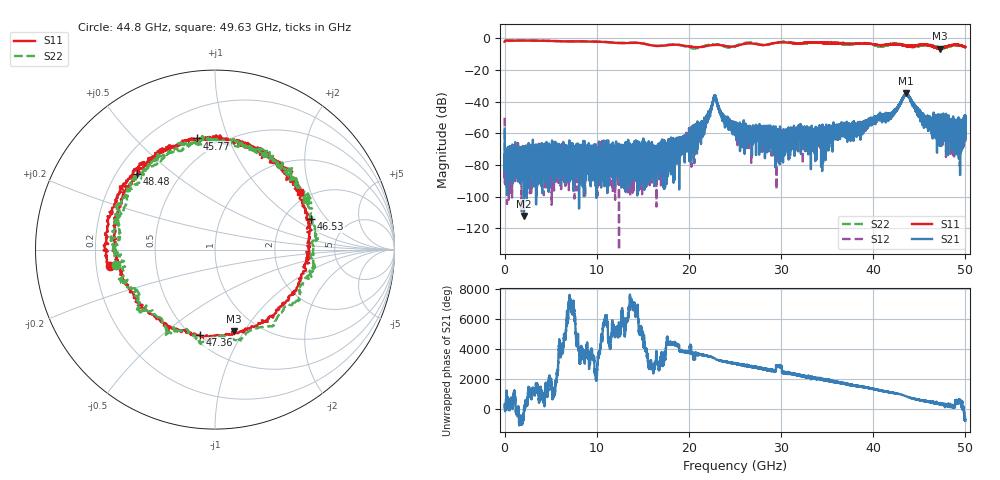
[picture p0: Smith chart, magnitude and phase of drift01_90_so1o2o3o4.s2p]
!Created with skrf (http://scikit-rf.org).
# Hz S RI R 50.0
!freq ReS11 ImS11 ReS21 ImS21 ReS12 ImS12 ReS22 ImS22
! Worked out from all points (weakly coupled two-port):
!   10001 points, 300 kHz to 50 GHz, reference 50 ohm
!   highest |S21| = -34.66 dB at 43.56 GHz (marker M1); lowest = -112.2 dB at 2.1 GHz (marker M2)
!   lowest |S11| = -6.6 dB at 47.2 GHz (marker M3), VSWR 2.75, Z = 38.9 - j45.2 ohm
!   |S11| at or under -10 dB: nowhere
!   |S22| runs from -6.6 to -1.4 dB; largest |S21 - S12| = 0.0035
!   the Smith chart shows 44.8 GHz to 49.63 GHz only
!   S11 on the Smith chart (normalised r, x): 44.8 GHz: 0.26, -0.07; 45.77 GHz: 0.38, +0.78; 46.53 GHz: 2.78, +1.39; 47.36 GHz: 0.55, -0.68; 48.48 GHz: 0.28, +0.38; 49.63 GHz: 1.78, +1.68
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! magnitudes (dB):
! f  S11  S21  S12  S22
! 300 kHz  -2.1  -57.1  -50.2  -2.1
! 255.3 MHz  -1.4  -79.5  -104.6  -1.4
! 2.1 GHz  -1.4  -112.2  -70.9  -1.4
! 8.335 GHz  -1.9  -90.6  -70.0  -1.8
! 16.67 GHz  -4.8  -77.8  -75.6  -4.8
! 20.83 GHz  -5.6  -58.1  -59.4  -6.3
! 21.76 GHz  -5.1  -53.2  -53.4  -4.8
! 22.8 GHz  -4.3  -36.7  -36.4  -4.0
! 23.69 GHz  -4.6  -49.3  -49.8  -4.9
! 25 GHz  -5.0  -54.0  -55.2  -5.1
! 29.84 GHz  -2.6  -67.2  -66.0  -2.4
! 33.34 GHz  -2.6  -60.1  -65.2  -2.7
! 41.67 GHz  -3.9  -50.4  -48.5  -4.5
! 43.56 GHz  -4.6  -34.7  -35.4  -4.9
! 44.8 GHz  -4.6  -46.2  -47.0  -5.0
! 45.77 GHz  -4.0  -52.2  -52.3  -4.1
! 46.53 GHz  -5.0  -49.2  -53.4  -5.1
! 47.2 GHz  -6.6  -52.5  -52.8  -6.0
! 47.36 GHz  -6.3  -52.8  -56.1  -6.1
! 48.48 GHz  -4.4  -63.6  -55.6  -5.0
! 49.63 GHz  -4.9  -59.9  -59.3  -4.8
! 50 GHz  -5.6  -59.2  -67.3  -5.3
